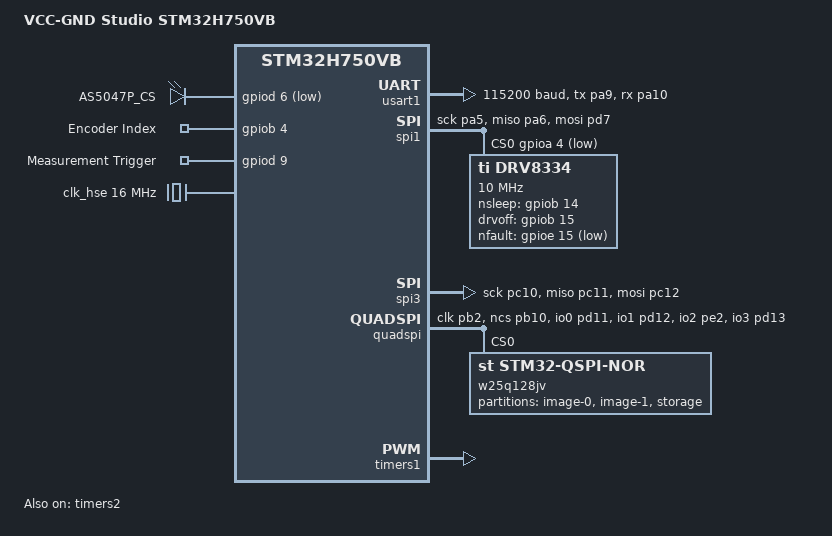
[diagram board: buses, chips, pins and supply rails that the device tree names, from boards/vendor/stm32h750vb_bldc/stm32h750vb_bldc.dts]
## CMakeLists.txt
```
#-------------------------------------------------------------------------------
# Zephyr Example Application
#
# Copyright (c) 2021 Nordic Semiconductor ASA
# SPDX-License-Identifier: Apache-2.0
list(APPEND BOARD_ROOT ${CMAKE_CURRENT_SOURCE_DIR})
set(BOARD stm32h750vb_bldc)

cmake_minimum_required(VERSION 3.13.1)
find_package(Zephyr REQUIRED HINTS $ENV{ZEPHYR_BASE})

project(app LANGUAGES C)

target_sources(app PRIVATE 
    src/main.c
    src/as5047p.c
    src/drv8334.c
    src/storage_manager.c
    src/adc_manager.c
    src/pwm_timer.c
    src/foc_controller.c
)
```

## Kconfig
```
# Copyright (c) 2021 Nordic Semiconductor ASA
# SPDX-License-Identifier: Apache-2.0
#
# This file is the application Kconfig entry point. All application Kconfig
# options can be defined here or included via other application Kconfig files.
# You can browse these options using the west targets menuconfig (terminal) or
# guiconfig (GUI).

menu "Zephyr"
source "Kconfig.zephyr"
endmenu

module = APP
module-str = APP
source "subsys/logging/Kconfig.template.log_config"
rsource "../Kconfig"

# Force compilation of STM32 HAL drivers
config APP_ENABLE_STM32_HAL
    bool "Enable Direct STM32 HAL Calls"
    default y
    select USE_STM32_HAL_ADC
    select USE_STM32_HAL_ADC_EX
    select USE_STM32_HAL_TIM
    select USE_STM32_HAL_TIM_EX
    select USE_STM32_HAL_DMA
```

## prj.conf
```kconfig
# Copyright (c) 2021 Nordic Semiconductor ASA
# SPDX-License-Identifier: Apache-2.0
#
# This file contains selected Kconfig options for the application.


# Enable Logging
CONFIG_LOG=y
CONFIG_SERIAL=y
CONFIG_CONSOLE=y
CONFIG_UART_CONSOLE=y
CONFIG_SHELL=y
# Use the console as the backend for logs
CONFIG_LOG_BACKEND_UART=y

# Optional: Ensure logs are processed immediately (useful for debugging crashes)
CONFIG_LOG_MODE_IMMEDIATE=y

CONFIG_GPIO=y

# SPI
CONFIG_SPI=y
#CONFIG_SHELL=y
#CONFIG_SPI_SHELL=y
#CONFIG_GPIO_SHELL=y
# SPI configuration for AS5047P

#CONFIG_SPI_ASYNC=n

# Enable AS5047P driver - not needed at the moment
CONFIG_SENSOR=y
# CONFIG_AS5047P=y

# Enable PWM for LED control
CONFIG_PWM=y
CONFIG_PWM_STM32=y

# enable floating point logging
CONFIG_CBPRINTF_FP_SUPPORT=y


CONFIG_QDEC_STM32=y

# Flash, MCUboot, and XIP Configuration
CONFIG_FLASH=y
CONFIG_FLASH_PAGE_LAYOUT=y
CONFIG_FLASH_MAP=y
CONFIG_NVS=y

# MCUboot Integration
CONFIG_BOOTLOADER_MCUBOOT=y
CONFIG_MCUBOOT_SIGNATURE_KEY_FILE="/home/paul/zephyrproject/STM32H750VB_DRV8334/app/keys/mcuboot_dev_key.pem"

# Enable Execute In Place (XIP) from QSPI
CONFIG_XIP=y

# Tell the linker to place .text and .rodata in QSPI XIP flash
CONFIG_USE_DT_CODE_PARTITION=y


# STM32 QSPI Driver and Memory Controller
CONFIG_MEMC=y
CONFIG_FLASH_STM32_QSPI=y

# Configure MPU to allow instruction fetching from external QSPI memory region (0x90000000)
CONFIG_ARM_MPU=y
CONFIG_CUSTOM_SECTION_ALIGN=y
# Enable early console logs to catch startup faults
CONFIG_EARLY_CONSOLE=y


# Enable USB CDC ACM for console output
CONFIG_USB_DEVICE_STACK=n
CONFIG_UHC_DRIVER=y
CONFIG_USB_DEVICE_STACK_NEXT=y
CONFIG_SERIAL=y 
CONFIG_UART_INTERRUPT_DRIVEN=y 
CONFIG_USB_DEVICE_PID=0x0001 
CONFIG_USB_DEVICE_VID=0xFEED

# Enable ADC support
CONFIG_ADC=y
CONFIG_ADC_STM32=y

CONFIG_DMA=y
CONFIG_DMA_STM32=y

CONFIG_FPU=y
CONFIG_CMSIS_DSP=y
CONFIG_CMSIS_DSP_FASTMATH=y
CONFIG_CMSIS_DSP_INTERPOLATION=y
```

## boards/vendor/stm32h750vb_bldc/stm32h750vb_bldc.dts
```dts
/*
 * Copyright (c) 2026 Paul Reisch
 *
 * SPDX-License-Identifier: Apache-2.0
 */

/dts-v1/;
#include <st/h7/stm32h750Xb.dtsi>
#include <st/h7/stm32h750vbtx-pinctrl.dtsi>
#include <zephyr/dt-bindings/input/input-event-codes.h>
#include "stm32h750vb_bldc.dtsi"
#include <zephyr/dt-bindings/timer/stm32-timer.h>
/ {
	model = "VCC-GND Studio STM32H750VB";
	compatible = "st,stm32h750vb";

	aliases {
		spi-flash0 = &w25q128jv;
		storage-flash = &storage_partition;
		meas-trigger = &meas_trigger;

	};

	chosen {
		zephyr,console = &usart1;
		zephyr,shell-uart = &usart1;
		zephyr,sram = &sram0;
		//zephyr,flash = &flash0;
		zephyr,flash = &w25q128jv;
		//zephyr,flash-controller = &w25q128jv; // test this as well
		zephyr,flash-controller = &quadspi;
		zephyr,code-partition = &slot0_partition; /* Primary application XIP target */
	};

	leds {
		compatible = "gpio-leds";
		as5047p_cs: as5047p_cs {
			gpios = <&gpiod 6 GPIO_ACTIVE_LOW>;
			label = "AS5047P_CS";
		};
	};
	/* Define the Index Pin as a GPIO for Interrupt use */
	encoder_index: encoder_index {
		compatible = "gpio-keys";
		index_pin: index_pin {
			gpios = <&gpiob 4 (GPIO_ACTIVE_HIGH | GPIO_PULL_DOWN)>;
			label = "Encoder Index";
		};
	};

	trigger_signal {
		compatible = "gpio-keys";
		meas_trigger: meas_trigger {
			gpios = <&gpiod 9 (GPIO_PULL_DOWN | GPIO_ACTIVE_HIGH)>;
			label = "Measurement Trigger";
		};
	};


};

&clk_lse {
	status = "okay";
};

&clk_hse {
	clock-frequency = <DT_FREQ_M(16)>;
	status = "okay";
};

&pll {
	div-m = <1>;
	mul-n = <60>;
	div-p = <2>;
	div-q = <15>;
	div-r = <6>;
	clocks = <&clk_hse>;
	status = "okay";
};

&pll2 {
    div-m = <2>;
    mul-n = <25>;
    div-p = <1>;   /* (16 MHz / 2) * 25 / 1 = 100 MHz */
    clocks = <&clk_hse>;
    status = "okay";
};


&rcc {
	clocks = <&pll>;
	clock-frequency = <DT_FREQ_M(480)>;
	d1cpre = <1>;   /* SYSCLK / 1 = 480MHz */
	hpre = <2>;    /* 480MHz / 2 = 240MHz (Max AHB speed) */
	d1ppre = <2>;  /* 240MHz / 2 = 120MHz (APB3) */
	d2ppre1 = <2>; /* 240MHz / 2 = 120MHz (APB1) */
	d2ppre2 = <2>; /* 240MHz / 2 = 120MHz (APB2) */
	d3ppre = <2>;  /* 240MHz / 2 = 120MHz (APB4) */
};

&pwr {
	power-supply = "ldo";
};

&usart1 {
	pinctrl-names = "default";
	pinctrl-0 = <&usart1_tx_pa9 &usart1_rx_pa10>;
	current-speed = <115200>;
	status = "okay";
};

&pinctrl {
	spi3_sck_pc10: spi3_sck_pc10 {
		pinmux = <STM32_PINMUX('C', 10, AF6)>;
		bias-pull-down;
	};
	spi3_miso_pc11: spi3_miso_pc11 {
		pinmux = <STM32_PINMUX('C', 11, AF6)>;
		bias-pull-up;
	};
	spi3_mosi_pc12: spi3_mosi_pc12 {
		pinmux = <STM32_PINMUX('C', 12, AF6)>;
		bias-pull-down;
	};
};

&spi1 {
    pinctrl-0 = <&spi1_sck_pa5 &spi1_miso_pa6 &spi1_mosi_pd7>;
    pinctrl-names = "default";
    status = "okay";
    cs-gpios = <&gpioa 4 GPIO_ACTIVE_LOW>;

    drv8334: drv8334@0 {
        compatible = "ti,drv8334";
        reg = <0>;
        spi-max-frequency = <10000000>;

        /* Control GPIOs */
        nsleep-gpios = <&gpiob 14 GPIO_ACTIVE_HIGH>;
        drvoff-gpios = <&gpiob 15 GPIO_ACTIVE_HIGH>;
        nfault-gpios = <&gpioe 15 GPIO_ACTIVE_LOW>;
    };
};

/* Note: ADC configuration for PC3_C, PB1, PB0 (SOA, SOB, SOC)
   would typically be handled via the ADC peripheral nodes. */

&spi3 {
	status = "okay";
	pinctrl-0 = <&spi3_sck_pc10 &spi3_miso_pc11 &spi3_mosi_pc12>;
	pinctrl-names = "default";
	// cs-gpios = <&gpioa 4 GPIO_ACTIVE_LOW>; CS was not toggled
	// keep this for later testing if i want to make a driver package for the this sensor else delete it at the end.
	// as5047p@0 {
		//     status = "okay";
		//     compatible = "ams,as5047p";
		//     reg = <0>;
		//     spi-max-frequency = <10000000>;
	// };
};

&flash0 {
        partitions {
                compatible = "fixed-partitions";
                #address-cells = <1>;
                #size-cells = <1>;

                /* MCUboot primary bootloader runs directly from 128KB internal flash */
                boot_partition: partition@0 {
                        label = "mcuboot";
                        reg = <0x00000000 DT_SIZE_K(128)>;
                };
        };
};


&quadspi {
	pinctrl-names = "default";
	pinctrl-0 = <&quadspi_clk_pb2 &quadspi_bk1_ncs_pb10
	&quadspi_bk1_io0_pd11 &quadspi_bk1_io1_pd12
	&quadspi_bk1_io2_pe2 &quadspi_bk1_io3_pd13>;
	status = "okay";

	w25q128jv: qspi-nor-flash@0 {
		compatible = "st,stm32-qspi-nor";
		reg = <0>;
		size = <DT_SIZE_M(128)>; /* 128 Mbits */
		qspi-max-frequency = <80000000>;
		cs-high-time = <4>; /* >= 50 ns */
		spi-bus-width = <4>;
		jedec-id = [ ef 40 18  ];
		status = "okay";
		/* Tell Zephyr to program the QE bit in Status Register 2 -> enables QSPI else only Singe Wire works*/
		quad-enable-requirements = "S2B1v1";
		partitions {
			compatible = "fixed-partitions";
			#address-cells = <1>;
			#size-cells = <1>;

			/* Slot 0: Primary application XIP target (2 MB) */
                        slot0_partition: partition@0 {
                                label = "image-0";
                                reg = <0x00000000 DT_SIZE_M(2)>;
                        };

                        /* Slot 1: Secondary application OTA staging slot (2 MB) */
                        slot1_partition: partition@200000 {
                                label = "image-1";
                                reg = <0x00200000 DT_SIZE_M(2)>;
                        };

                        /* Storage partition for calibration data, parameters (2 MB) */
                        storage_partition: partition@e00000 {
                                label = "storage";
                                reg = <0x00e00000 DT_SIZE_M(2)>;
                        };
		};
	};
};



/* Define Analog Pin Control Configurations */
&pinctrl {
    adc1_inp9_pb0: adc1_inp9_pb0 {
        pinmux = <STM32_PINMUX('B', 0, ANALOG)>;
	bias-disable;
    };
    adc2_inp5_pb1: adc2_inp5_pb1 {
        pinmux = <STM32_PINMUX('B', 1, ANALOG)>;
	bias-disable;
    };
    adc3_inp1_pc3_c: adc3_inp1_pc3_c {
        pinmux = <STM32_PINMUX('C', 3, ANALOG)>;
	bias-disable;
    };
};

&adc1 {
    status = "disabled";
    pinctrl-0 = <&adc1_inp9_pb0>;
    pinctrl-names = "default";
};
&adc2 {
    status = "disabled";
    pinctrl-0 = <&adc2_inp5_pb1>;
    pinctrl-names = "default";
};
&adc3 {
    status = "disabled";
    pinctrl-0 = <&adc3_inp1_pc3_c>;
    pinctrl-names = "default";

};

/* Pin Control Definition */
&pinctrl {
    tim1_ch1n_pe8: tim1_ch1n_pe8 {
        pinmux = <STM32_PINMUX('E', 8, AF1)>;
        drive-push-pull;
    };
    tim1_ch1_pe9: tim1_ch1_pe9 {
        pinmux = <STM32_PINMUX('E', 9, AF1)>;
        drive-push-pull;
    };
    tim1_ch2n_pe10: tim1_ch2n_pe10 {
        pinmux = <STM32_PINMUX('E', 10, AF1)>;
        drive-push-pull;
    };
    tim1_ch2_pe11: tim1_ch2_pe11 {
        pinmux = <STM32_PINMUX('E', 11, AF1)>;
        drive-push-pull;
    };
    tim1_ch3n_pe12: tim1_ch3n_pe12 {
        pinmux = <STM32_PINMUX('E', 12, AF1)>;
        drive-push-pull;
    };
    tim1_ch3_pe13: tim1_ch3_pe13 {
        pinmux = <STM32_PINMUX('E', 13, AF1)>;
        drive-push-pull;
    };
};

/* Timer Base Configuration */
&timers1 {
    status = "okay";
    st,prescaler = <0>;

    pwm1: pwm {
        status = "okay";
        compatible = "st,stm32-pwm";
        pinctrl-0 = <&tim1_ch1n_pe8 &tim1_ch1_pe9
                     &tim1_ch2n_pe10 &tim1_ch2_pe11
                     &tim1_ch3n_pe12 &tim1_ch3_pe13>;
        pinctrl-names = "default";
    };
};

&timers2 {
	status = "okay";
	qdec: qdec {
		status = "okay";
		pinctrl-0 = <&tim2_ch1_pa15 &tim2_ch2_pb3>;
		pinctrl-names = "default";
		st,counts-per-revolution = <2048>;
		st,input-filter-level = <1>; // default is 0
	};
};
```

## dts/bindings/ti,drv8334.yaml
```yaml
description: TI DRV8334 Motor Driver

compatible: "ti,drv8334"

include: [spi-device.yaml]

properties:
  nsleep-gpios:
    type: phandle-array
    required: true
  drvoff-gpios:
    type: phandle-array
    required: true
  nfault-gpios:
    type: phandle-array
    required: true
```

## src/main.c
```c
/*
 * Copyright (c) 2025
 *
 * SPDX-License-Identifier: Apache-2.0
 */

/**
 * @file Sample app to demonstrate AS5047P magnetic encoder driver.
 */

#include <zephyr/kernel.h>
#include <zephyr/sys/printk.h>
#include <zephyr/device.h>
#include <zephyr/drivers/pwm.h>
#include <zephyr/dt-bindings/pwm/pwm.h>
#include <zephyr/logging/log.h>

#include <zephyr/drivers/spi.h>

#include <zephyr/drivers/sensor.h>

#include "as5047p.h"
#include "storage_manager.h"
#include "adc_manager.h"
#include "drv8334.h"
#include "pwm_timer.h"
#include "foc_controller.h"

LOG_MODULE_REGISTER(app, LOG_LEVEL_INF);

#define SPI3_NODE DT_NODELABEL(spi3)
static const struct device *dev_mag_as5047p = DEVICE_DT_GET(SPI3_NODE);

static const struct gpio_dt_spec cs_gpio = GPIO_DT_SPEC_GET(DT_NODELABEL(as5047p_cs), gpios);

static struct spi_config spi_cfg = {
    .frequency = 5000000, // 500 KHz
    .operation = SPI_OP_MODE_MASTER |
                 SPI_WORD_SET(8) |
                 SPI_TRANSFER_MSB |
                 SPI_MODE_CPHA,
    .slave = 0,
    .cs = {NULL}, // <--- If this is set, CS is handled by the hardware of the MCU, NULL not connected manual mode
};

// ABI Interface
/* Get the devices from Devicetree */
const struct device *qdec_dev = DEVICE_DT_GET(DT_NODELABEL(qdec));
static const struct gpio_dt_spec index_gpio = GPIO_DT_SPEC_GET(DT_NODELABEL(index_pin), gpios);
static struct gpio_callback index_cb_data;

/* Callback function for Index pulse */
void index_handler(const struct device *port, struct gpio_callback *cb, uint32_t pins)
{
    /* Reset the timer counter when index pulse is detected */
    /* Note: Direct register access is often fastest for this */
    TIM2->CNT = 0;
}

void setup_encoder(void)
{
    if (!device_is_ready(qdec_dev))
    {
        return;
    }

    /* Setup Index Interrupt */
    gpio_pin_configure_dt(&index_gpio, GPIO_INPUT);
    gpio_init_callback(&index_cb_data, index_handler, BIT(index_gpio.pin));
    gpio_add_callback(index_gpio.port, &index_cb_data);
    gpio_pin_interrupt_configure_dt(&index_gpio, GPIO_INT_EDGE_TO_ACTIVE);
}

double read_encoder(void)
{
    struct sensor_value qdec_value = {0};
    double precise_degrees = 0.0;
    if (sensor_sample_fetch(qdec_dev) == 0)
    {
        sensor_channel_get(qdec_dev, SENSOR_CHAN_ROTATION, &qdec_value);

        // Convert to double to see the 0.08789 degree increments
        precise_degrees = sensor_value_to_double(&qdec_value);
    }
    return precise_degrees;
}

// Measurement

#include <zephyr/kernel.h>
#include <zephyr/drivers/sensor.h>
#include <zephyr/drivers/spi.h>

// Trigger pin for starting the measurement
static const struct gpio_dt_spec trigger_gpio =
    GPIO_DT_SPEC_GET(DT_NODELABEL(meas_trigger), gpios);

static struct gpio_callback trigger_cb_data;
static K_SEM_DEFINE(meas_sem, 0, 1);

static uint32_t last_trigger_time = 0;
#define DEBOUNCE_TIMEOUT_MS 100
void trigger_handler(const struct device *port, struct gpio_callback *cb, uint32_t pins)
{
    uint32_t now = k_uptime_get_32();

    // Only process the interrupt if enough time has passed
    if ((now - last_trigger_time) > DEBOUNCE_TIMEOUT_MS)
    {
        last_trigger_time = now;
        k_sem_give(&meas_sem);
    }
}

/* Data Structure for high-speed capture */
struct sensor_test_sample
{
    uint32_t timestamp;
    float abi_ticks;
    uint16_t spi_raw;
};

/* Buffer configuration */
// #define MAX_SAMPLES 4096 // max ist around 8000
// static struct sensor_test_sample sample_buffer[MAX_SAMPLES];

// void dump_characterization_data(void)
// {
//     // Wait for the measurement thread to be 100% idle
//     k_msleep(50);

//     // Get the hardware clock frequency
//     uint32_t hw_freq = sys_clock_hw_cycles_per_sec();

//     // Capture the first timestamp as the zero reference
//     uint32_t start_cycles = sample_buffer[0].timestamp;

//     // Use a simpler header
//     printk("idx,ts [ms],Angle from ABI [°],Angle from SPI [°],Angle Linearization [°]\n");

//     for (uint32_t i = 0; i < MAX_SAMPLES; i++)
//     {
//         // 1. Calculate relative cycles from the start
//         uint32_t rel_cycles = sample_buffer[i].timestamp - start_cycles;

//         /* Calculate ms as float then round to nearest integer */
//         float rel_ms_float = (float)rel_cycles / (hw_freq / 1000.0f);
//         uint32_t rel_ms_int = (uint32_t)(rel_ms_float + 0.5f);

//         float linear_corrected = apply_linear_correction(sample_buffer[i].abi_ticks);

//         // Print and then wait for the UART to clear
//         printk("%u,%u,%.4f,%.4f,%.4f\n",
//                i,
//                rel_ms_int,
//                (double)sample_buffer[i].abi_ticks,
//                (double)sample_buffer[i].spi_raw * (360.0 / 16384.0),
//                (double)linear_corrected);

//         // Slow down the dump significantly to ensure no data loss
//         // 3ms delay per line is safe for 115200 baud
//         k_msleep(3);
//     }
// }

/* Thread function */
// void measurement_thread_entry(void *p1, void *p2, void *p3)
// {
//     struct k_timer timer;
//     k_timer_init(&timer, NULL, NULL);

//     while (1)
//     {
//         /* Wait for PB3 trigger */
//         k_sem_take(&meas_sem, K_FOREVER);

//         /* Optional 100ms startup delay */
//         // k_msleep(100);
//         printk("Measurement triggered! Starting data capture...\n");
//         uint32_t start_time = k_uptime_get_32();

//         /* Start the interval timer for 50ms */
//         k_timer_start(&timer, K_NO_WAIT, K_MSEC(2.5)); // 2.5ms interval for 400Hz sampling

//         /* Collect exactly MAX_SAMPLES */
//         for (int i = 0; i < MAX_SAMPLES; i++)
//         {
//             k_timer_status_sync(&timer);
//             /* 1. Fetch ABI Ticks */
//             struct sensor_value qdec_value = {0};
//             double precise_degrees = 0.0;
//             if (sensor_sample_fetch(qdec_dev) == 0)
//             {
//                 sensor_channel_get(qdec_dev, SENSOR_CHAN_ROTATION, &qdec_value);

//                 // Convert to double to see the 0.08789 degree increments
//                 precise_degrees = sensor_value_to_double(&qdec_value);
//             }

//             /* 2. Fetch SPI Raw Angle */
//             uint16_t raw_reg = as5047p_read_reg(dev_mag_as5047p, &spi_cfg, &cs_gpio, AS5047P_REG_ANGLECOM);
//             /* 3. Store to RAM using the loop index 'i' */
//             sample_buffer[i].timestamp = k_cycle_get_32();
//             sample_buffer[i].abi_ticks = precise_degrees;
//             sample_buffer[i].spi_raw = raw_reg & 0x3FFF;
//             /* Wait for the remainder of the 10ms interval */
//         }
//         k_timer_stop(&timer);

//         uint32_t end_time = k_uptime_get_32();
//         printk("Capture End. Duration: %u ms\n", (end_time - start_time));
//         printk("Data capture complete! Dumping data...\n");
//         dump_characterization_data();
//         k_sem_reset(&meas_sem);
//         /* Thread automatically loops back to k_sem_take and sleeps */
//     }
// }
// K_THREAD_DEFINE(meas_thread_id, 2048, measurement_thread_entry, NULL, NULL, NULL, 2, 0, 0);

// Thread for open-loop FOC control
void open_loop_thread_entry(void *p1, void *p2, void *p3)
{
    while (1)
    {
        const struct open_loop_config *cfg = foc_get_open_loop_config();
        if (cfg != NULL && cfg->enabled)
        {
            foc_open_loop_update(0.001f);
        }
        k_msleep(1);
    }
}

K_THREAD_DEFINE(open_loop_tid, 2048, open_loop_thread_entry, NULL, NULL, NULL, 5, 0, 0);

// flash
#include <zephyr/drivers/flash.h>
#include <zephyr/fs/nvs.h>
#define STORAGE_NODE DT_ALIAS(storage_flash)

int main(void)
{
    printk("Tick frequency: %d Hz\n", CONFIG_SYS_CLOCK_TICKS_PER_SEC);
    if (!gpio_is_ready_dt(&cs_gpio))
    {
        LOG_ERR("CS GPIO device not ready");
        return -ENODEV;
    }
    /* Configure as output and set to High (Inactive) */
    gpio_pin_configure_dt(&cs_gpio, GPIO_OUTPUT_INACTIVE);

    if (!device_is_ready(dev_mag_as5047p))
    {
        return -ENODEV;
    }

    // Setup the encoder pins for the ABI Interface
    setup_encoder();

    // Check register settings
    as5047p_dump_registers(dev_mag_as5047p, &spi_cfg, &cs_gpio);
    as5047p_set_abi_4096(dev_mag_as5047p, &spi_cfg, &cs_gpio);
    uint16_t spi_raw = as5047p_read_reg(dev_mag_as5047p, &spi_cfg, &cs_gpio, AS5047P_REG_ANGLECOM);
    spi_raw &= 0x3FFF; // Mask to 14 bits

    // 2. Scale 14-bit (16384) to 12-bit (4096)
    // Using 4096.0 for float precision or simple shift for speed
    uint32_t initial_counts = spi_raw / 8;

    // 3. Directly set the STM32 Timer Counter register
    // TIM2 is used for ABI
    TIM2->CNT = initial_counts;
    as5047p_dump_registers(dev_mag_as5047p, &spi_cfg, &cs_gpio);
    k_msleep(100);

    // Interrupt setup for measurement trigger
    gpio_pin_configure_dt(&trigger_gpio, GPIO_INPUT);

    /* Configure interrupt for Rising Edge (Low to High) */
    gpio_pin_interrupt_configure_dt(&trigger_gpio, GPIO_INT_EDGE_TO_ACTIVE);

    /* Attach the callback */
    gpio_init_callback(&trigger_cb_data, trigger_handler, BIT(trigger_gpio.pin));
    gpio_add_callback(trigger_gpio.port, &trigger_cb_data);

    printk("INFO: System Ready. Trigger enabled.\n");

    storage_run_test();

    pwm_timer_start_3phase_center_aligned();
    printk("INFO: Timer 1 center aligned 3 phase pwm started.\n");

    printk("INFO: Starting ADC DMA triggered by TIM1 TRGO.\n");
    start_timer_triggered_adc_dma();
    printk("INFO: ADC DMA started. Awaiting TIM1 TRGO events...\n");
    calibrate_current_offsets();

    printk("INFO: DRV8334 Initialization Starting...\n");
    int ret = drv8334_init(&drv_cfg);
    if (ret < 0)
    {
        printk("INFO: DRV8334 Initialization Failed: %d\n", ret);
    }
    else
    {
        printk("INFO: DRV8334 Initialized successfully\n");
    }

    printk("INFO: System Testing Active. Ready to sample signals.\n");

    while (1)
    {
        k_sleep(K_FOREVER);
    }

    return 0;
}
```

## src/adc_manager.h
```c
/*
 * Copyright (c) 2026
 * SPDX-License-Identifier: Apache-2.0
 */

#ifndef ADC_MANAGER_H_
#define ADC_MANAGER_H_

#include <stdlib.h>

#include <zephyr/types.h>
#include <zephyr/kernel.h>
#include <zephyr/shell/shell.h>
#include <stm32h7xx_hal.h>
#include <zephyr/arch/cpu.h>
#include <stm32h7xx_ll_bus.h>
#include <stm32h7xx_ll_system.h>
#include <zephyr/drivers/clock_control.h>
#include <zephyr/drivers/clock_control/stm32_clock_control.h>

#include <zephyr/drivers/pinctrl.h>
#include <stm32h7xx_hal.h>
#include <stm32h7xx_hal_adc_ex.h>

#include <stm32h7xx_hal_dma.h>

#include <zephyr/irq.h>
#include <stm32_ll_adc.h>

#ifdef __cplusplus
extern "C" {
#endif


extern volatile struct motor_currents_sample g_latest_currents;


/**
 * @brief Structure holding the latest raw and converted millivolt data.
 * Ready for extraction by control feedback or background loops.
 */
struct motor_currents_sample {
    uint16_t raw_a;
    uint16_t raw_b;
    uint16_t raw_c;
    uint16_t raw_offset_a;
    uint16_t raw_offset_b;
    uint16_t raw_offset_c;
    float i_a;
    float i_b;
    float i_c;
};


int start_timer_triggered_adc_dma(void);
int calibrate_current_offsets(void);

/**
 * @brief Initializes ADC1, ADC2, and ADC3 for simultaneous triple injected
 * sampling triggered by TIM1.
 */
void init_adcs_simultaneous_foc(void);

/**
 * @brief Returns the initialization status of the ADC subsystem.
 * @return true if initialized, false otherwise.
 */
bool is_adc_ready(void);

/**
 * @brief Thread-safe retrieval of the latest phase current measurements.
 * @param samples Pointer to output structure to receive current data.
 */
void get_latest_currents(struct motor_current_sample *samples);

/**
 * @brief Performs a synchronized read of Phase A, B, and C currents.
 * @param out_samples Pointer to output structure to copy the latest readings.
 * @return 0 on success, negative error code on failure.
 */
int adc_manager_read_currents(struct motor_current_sample *out_samples);

/**
 * @brief Performs a low-priority synchronous sample of the NTC channel.
 * @param out_mv Pointer to store the raw voltage in millivolts.
 * @return 0 on success, negative error code on failure.
 */
int adc_manager_read_temp(int32_t *out_mv);

/**
 * @brief Prints hardware register diagnostics for a designated ADC instance and channel.
 * @param adc_num ADC peripheral instance (1, 2, or 3).
 * @param channel Channel number (0 to 19).
 */
void print_adc_channel_debug(uint8_t adc_num, uint32_t channel);

#ifdef __cplusplus
}
#endif

#endif /* ADC_MANAGER_H_ */
```

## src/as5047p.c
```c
#include "as5047p.h"
#include <zephyr/kernel.h>

struct as5047p_reg_map
{
    uint16_t addr;
    const char *name;
};

static const struct as5047p_reg_map reg_list[] = {
    {AS5047P_REG_ERRFL, "ERRFL"},
    {AS5047P_REG_SETTINGS1, "SETTINGS1"},
    {AS5047P_REG_SETTINGS2, "SETTINGS2"},
    {AS5047P_REG_ABIBIN, "ABIBIN"},
    {AS5047P_REG_ABIRES, "ABIRES"},
    {AS5047P_REG_ZPOSM, "ZPOSM"},
    {AS5047P_REG_ZPOSL, "ZPOSL"},
    {AS5047P_REG_SETTINGS3, "SETTINGS3"},
    {AS5047P_REG_PROGOPT, "PROGOPT"},
    {AS5047P_REG_DIAAGC, "DIAAGC"},
    {AS5047P_REG_MAG, "MAG"},
    {AS5047P_REG_ANGLEUNC, "ANGLEUNC"},
    {AS5047P_REG_ANGLECOM, "ANGLECOM"}};

static uint16_t add_parity(uint16_t command)
{
    uint16_t count = 0;
    uint16_t temp = command;
    for (int i = 0; i < 16; i++)
    {
        if (temp & 0x1)
            count++;
        temp >>= 1;
    }
    return (count % 2 != 0) ? (command | 0x8000) : command;
}

uint16_t as5047p_read_reg(const struct device *spi_dev,
                          const struct spi_config *cfg,
                          const struct gpio_dt_spec *cs,
                          uint16_t reg)
{
    uint16_t command = add_parity(AS5047P_CMD_READ | (reg & 0x3FFF));
    uint8_t tx_data[2] = {(uint8_t)(command >> 8), (uint8_t)(command & 0xFF)};
    uint8_t tx_nop[2] = {0xC0, 0x00};
    uint8_t rx_buf[2];

    struct spi_buf tx = {.buf = tx_data, .len = 2};
    struct spi_buf_set tx_s = {.buffers = &tx, .count = 1};
    struct spi_buf rx = {.buf = rx_buf, .len = 2};
    struct spi_buf_set rx_s = {.buffers = &rx, .count = 1};

    /* Frame 1: Send Command */
    gpio_pin_set_dt(cs, 1);
    k_busy_wait(1);
    spi_transceive(spi_dev, cfg, &tx_s, &rx_s);
    gpio_pin_set_dt(cs, 0);

    k_busy_wait(1);

    /* Frame 2: Get Data */
    tx.buf = tx_nop;
    gpio_pin_set_dt(cs, 1);
    k_busy_wait(1);
    spi_transceive(spi_dev, cfg, &tx_s, &rx_s);
    gpio_pin_set_dt(cs, 0);

    return ((uint16_t)rx_buf[0] << 8) | rx_buf[1];
}

float as5047p_get_angle_degrees(const struct device *spi_dev,
                                const struct spi_config *cfg,
                                const struct gpio_dt_spec *cs)
{
    /* Read the ANGLECOM register (0x3FFE) */
    uint16_t raw_val = as5047p_read_reg(spi_dev, cfg, cs, AS5047P_REG_ANGLECOM);

    /* * Mask out bits 14 (Error Flag) and 15 (Parity)
     * 0x3FFF = 0011 1111 1111 1111
     */
    uint16_t angle_data = raw_val & 0x3FFF;

    /* * Convert 14-bit value to degrees:
     * Resolution = 360.0 / 2^14 = 360.0 / 16384
     */
    float degrees = (float)angle_data * (360.0f / 16384.0f);

    return degrees;
}

int as5047p_write_reg(const struct device *spi_dev,
                      const struct spi_config *cfg,
                      const struct gpio_dt_spec *cs,
                      uint16_t reg,
                      uint16_t data)
{
    /* 1. Prepare Command Frame (Write bit is 0 at bit 14) */
    uint16_t command = add_parity(reg & 0x3FFF);
    uint8_t cmd_buf[2] = {(uint8_t)(command >> 8), (uint8_t)(command & 0xFF)};

    /* 2. Prepare Data Frame (Data bits 0:13) */
    uint16_t data_frame = add_parity(data & 0x3FFF);
    uint8_t data_buf[2] = {(uint8_t)(data_frame >> 8), (uint8_t)(data_frame & 0xFF)};

    struct spi_buf tx_cmd = {.buf = cmd_buf, .len = 2};
    struct spi_buf tx_data = {.buf = data_buf, .len = 2};

    struct spi_buf_set tx_cmd_s = {.buffers = &tx_cmd, .count = 1};
    struct spi_buf_set tx_data_s = {.buffers = &tx_data, .count = 1};

    /* Frame 1: Send Address/Write Command */
    gpio_pin_set_dt(cs, 1);
    k_busy_wait(1);
    int ret = spi_write(spi_dev, cfg, &tx_cmd_s);
    gpio_pin_set_dt(cs, 0);

    if (ret)
        return ret;

    /* Mandatory tCSn delay */
    k_busy_wait(1);

    /* Frame 2: Send Data */
    gpio_pin_set_dt(cs, 1);
    k_busy_wait(1);
    ret = spi_write(spi_dev, cfg, &tx_data_s);
    gpio_pin_set_dt(cs, 0);

    return ret;
}

void as5047p_dump_registers(const struct device *spi_dev,
                            const struct spi_config *cfg,
                            const struct gpio_dt_spec *cs)
{
    printk("\n--- AS5047P Register Dump ---\n");
    printk("%-12s | %-6s | %-6s\n", "Register", "Addr", "Value");
    printk("------------------------------\n");

    for (int i = 0; i < ARRAY_SIZE(reg_list); i++)
    {
        uint16_t value = as5047p_read_reg(spi_dev, cfg, cs, reg_list[i].addr);

        /* The data is in the lower 14 bits (0-13) */
        uint16_t data = value & 0x3FFF;
        uint8_t error = (value & 0x4000) >> 14;

        printk("%-12s | 0x%04X | 0x%04X %s\n",
               reg_list[i].name,
               reg_list[i].addr,
               data,
               error ? "(ERR)" : "");
    }
    printk("------------------------------\n\n");
}

int as5047p_set_abi_4096(const struct device *spi_dev,
                         const struct spi_config *cfg,
                         const struct gpio_dt_spec *cs)
{
    int ret;

    /* Set SETTINGS1 to 0x0021 (Factory bit = 1, ABIBIN = 1) */
    ret = as5047p_write_reg(spi_dev, cfg, cs, AS5047P_REG_SETTINGS1, 0x0021);
    if (ret)
    {
        return ret;
    }

    /* Set SETTINGS2 to 0x0000 (ABIRES = 000) */
    /* This selects 4096 Steps / 1024 Pulses when ABIBIN is 1 */
    ret = as5047p_write_reg(spi_dev, cfg, cs, AS5047P_REG_SETTINGS2, 0x0000);

    return ret;
}


// 32-segment lookup table values from your script (example data)
static const float32_t lut_corrections[32] = {
0.000404,
-2.431294,
-5.089021,
-8.636107,
-11.983723,
-15.152644,
-18.250239,
-20.732734,
-21.619773,
-20.150077,
-16.291087,
-10.822303,
-5.028875,
-0.220283,
2.687999,
3.375851,
2.072639,
-0.660724,
-4.194493,
-8.019444,
-11.800608,
-15.30694,
-18.288365,
-20.393309,
-21.194315,
-20.32789,
-17.686035,
-13.558797,
-8.648572,
-3.951602,
-0.551477,
0.803817
};


float32_t apply_linear_correction(float32_t raw_angle_deg) {
    // CMSIS-DSP linear interpolation uses an instance structure
    arm_linear_interp_instance_f32 S;
    S.nValues = 32;
    S.x1 = 0.0f;          // First point location
    S.xSpacing = 11.25f;  // 360 / 32 elements
    S.pYData = (float32_t *)lut_corrections;

    // Evaluate the correction factor at the current raw position
    float32_t correction = arm_linear_interp_f32(&S, raw_angle_deg);
    
    // Apply correction and wrap to 0-360
    float32_t corrected_angle = raw_angle_deg + correction;
    if (corrected_angle >= 360.0f) corrected_angle -= 360.0f;
    if (corrected_angle < 0.0f) corrected_angle += 360.0f;
    
    return corrected_angle;
}
```

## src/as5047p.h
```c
#ifndef AS5047P_H
#define AS5047P_H

#include <zephyr/types.h>
#include <zephyr/drivers/spi.h>
#include <zephyr/drivers/gpio.h>

#include <zephyr/drivers/sensor.h>


/* AS5047P Register Addresses */
#define AS5047P_REG_ERRFL 0x0001
#define AS5047P_REG_SETTINGS1 0x0018
#define AS5047P_REG_SETTINGS2 0x0019
#define AS5047P_REG_MAG 0x3FFD
#define AS5047P_REG_DIAAGC 0x3FFC
#define AS5047P_REG_ANGLEUNC 0x3FFE
#define AS5047P_REG_ANGLECOM 0x3FFF
#define AS5047P_REG_ABIBIN 0x001A
#define AS5047P_REG_ABIRES 0x001B
#define AS5047P_REG_ZPOSM 0x001C
#define AS5047P_REG_ZPOSL 0x001D
#define AS5047P_REG_SETTINGS3 0x001E
#define AS5047P_REG_PROGOPT 0x001F

/* Custom sensor channels */
#define AS5047P_CHAN_RAW SENSOR_CHAN_PRIV_START
#define AS5047P_CHAN_MAGNITUDE (SENSOR_CHAN_PRIV_START + 1)
#define AS5047P_CHAN_AMPLITUDE (SENSOR_CHAN_PRIV_START + 2)

/* SETTINGS1 Register Bit Fields */
#define AS5047P_SETTINGS1_UVW_POS 0xC000 /* UVW_AB selection */
#define AS5047P_SETTINGS1_PWM_ON 0x2000  /* PWM output enable */
#define AS5047P_SETTINGS1_DAECDIS 0x1000 /* Dynamic angle error compensation disable */
#define AS5047P_SETTINGS1_SPITH 0x0F00   /* SPI threshold */
#define AS5047P_SETTINGS1_DIR 0x0080     /* Direction */
#define AS5047P_SETTINGS1_HYST 0x0030    /* Hysteresis */
#define AS5047P_SETTINGS1_ABIRES 0x0003  /* ABI resolution */

/* SETTINGS2 Register Bit Fields */
#define AS5047P_SETTINGS2_UVW_ABI 0x2000 /* UVW_ABI selection */
#define AS5047P_SETTINGS2_DCT 0x1000     /* Fast mode */
#define AS5047P_SETTINGS2_SDA 0x0800     /* SDA enable */
#define AS5047P_SETTINGS2_PWMF 0x0400    /* PWM frequency */
#define AS5047P_SETTINGS2_DAE 0x0200     /* Dynamic angle error compensation */
#define AS5047P_SETTINGS2_WD 0x0100      /* Watchdog */
#define AS5047P_SETTINGS2_TPOLE 0x00C0   /* Turn-on programming */
#define AS5047P_SETTINGS2_PWMMOD 0x0038  /* PWM modulation */
#define AS5047P_SETTINGS2_OTP_EN 0x0007  /* OTP programming enable */

/* DIAAGC Register Bit Fields */
#define AS5047P_DIAAGC_OCF 0x8000       /* Offset compensation finished */
#define AS5047P_DIAAGC_COF 0x4000       /* Cordic overflow */
#define AS5047P_DIAAGC_COMP_LOW 0x2000  /* Compensation low */
#define AS5047P_DIAAGC_COMP_HIGH 0x1000 /* Compensation high */
#define AS5047P_DIAAGC_MAGL 0x0800      /* Magnetic field strength low */
#define AS5047P_DIAAGC_MAGH 0x0400      /* Magnetic field strength high */
#define AS5047P_DIAAGC_AGC 0x00FF       /* Automatic gain control */

/* Error flag definitions */
#define AS5047P_ERR_FIELD_TOO_LOW 0x08      /* Magnetic field too weak */
#define AS5047P_ERR_FIELD_TOO_HIGH 0x04     /* Magnetic field too strong */
#define AS5047P_ERR_CORDIC_OVERFLOW 0x10    /* Cordic overflow */
#define AS5047P_ERR_OFFSET_IN_PROGRESS 0x80 /* Offset compensation in progress */

/* SPI Command Bits */
#define AS5047P_CMD_READ 0x4000
#define AS5047P_CMD_WRITE 0x0000
#define AS5047P_CMD_PARITY_MASK 0x8000

#define AS5047P_MAX_SPI_FREQ 10000000 /* 10 MHz max */
#define AS5047P_POWER_UP_DELAY_MS 10  /* Power-up stabilization delay */

/* Function Prototypes */
uint16_t as5047p_read_reg(const struct device *spi_dev,
                        const struct spi_config *cfg,
                        const struct gpio_dt_spec *cs,  
                        uint16_t reg);

float as5047p_get_angle_degrees(const struct device *spi_dev,
                            const struct spi_config *cfg,
                            const struct gpio_dt_spec *cs);

int as5047p_write_reg(const struct device *spi_dev,
                      const struct spi_config *cfg,
                      const struct gpio_dt_spec *cs,
                      uint16_t reg,
                      uint16_t data);

int as5047p_set_abi_4096(const struct device *spi_dev, 
                         const struct spi_config *cfg,
                         const struct gpio_dt_spec *cs);

void as5047p_dump_registers(const struct device *spi_dev,
                            const struct spi_config *cfg,
                            const struct gpio_dt_spec *cs);


#include <zephyr/kernel.h>
#include <arm_math.h>

float32_t apply_linear_correction(float32_t raw_angle_deg);
float32_t apply_harmonic_correction(float32_t raw_angle_deg);

#endif /* AS5047P_H */
```

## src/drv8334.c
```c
#include "drv8334.h"
#include <zephyr/kernel.h>
#include <zephyr/sys/crc.h>
#include <zephyr/shell/shell.h>
#include <stdlib.h>
#include <string.h>

#define SPI1_NODE DT_NODELABEL(drv8334)

#define DRV8334_CRC_POLY 0x2F
#define DRV8334_CRC_INIT 0xFF

LOG_MODULE_REGISTER(drv8334, CONFIG_LOG_DEFAULT_LEVEL);

const struct drv8334_config drv_cfg = {
    .spi = SPI_DT_SPEC_GET(SPI1_NODE, SPI_WORD_SET(8) | SPI_MODE_CPHA | SPI_TRANSFER_MSB, 0),
    .nsleep = GPIO_DT_SPEC_GET(SPI1_NODE, nsleep_gpios),
    .drvoff = GPIO_DT_SPEC_GET(SPI1_NODE, drvoff_gpios),
    .nfault = GPIO_DT_SPEC_GET(SPI1_NODE, nfault_gpios),
};

struct bit_desc {
    uint8_t bit;
    const char *name;
    const char *active_str;
};

static inline uint8_t drv8334_calc_crc8(const uint8_t *data, size_t len)
{
    return crc8(data, len, DRV8334_CRC_POLY, DRV8334_CRC_INIT, false);
}

int drv8334_reg_write(const struct drv8334_config *cfg, uint8_t addr, uint16_t data)
{
    uint8_t tx_buf[4] = {
        [0] = (addr << 1) & 0xFE,
        [1] = (uint8_t)(data >> 8),
        [2] = (uint8_t)(data & 0xFF),
    };
    uint8_t rx_buf[4];
    
    tx_buf[3] = drv8334_calc_crc8(tx_buf, 3);

    const struct spi_buf tx = {.buf = tx_buf, .len = sizeof(tx_buf)};
    const struct spi_buf_set tx_bufs = {.buffers = &tx, .count = 1};
    const struct spi_buf rx = {.buf = rx_buf, .len = sizeof(rx_buf)};
    const struct spi_buf_set rx_bufs = {.buffers = &rx, .count = 1};

    int ret = spi_transceive_dt(&cfg->spi, &tx_bufs, &rx_bufs);
    if (ret < 0) {
        LOG_ERR("SPI transceive failed for addr 0x%02X: %d", addr, ret);
        return ret;
    }

    if (rx_buf[3] != drv8334_calc_crc8(rx_buf, 3)) {
        LOG_ERR("CRC error for addr 0x%02X", addr);
        return -EBADMSG;
    }

    if (!(rx_buf[0] & 0x28)) {
        LOG_WRN("DRV8334 reported fault status: 0x%02X on addr 0x%02X", rx_buf[0], addr);
        return -EIO;
    }

    return 0;
}

int drv8334_reg_read(const struct drv8334_config *cfg, uint8_t addr, uint16_t *data)
{
    uint8_t tx_buf[4] = {
        [0] = ((addr << 1) & 0xFE) | 0x01,
        [1] = 0x00,
        [2] = 0x00,
    };
    uint8_t rx_buf[4];

    tx_buf[3] = drv8334_calc_crc8(tx_buf, 3);

    const struct spi_buf tx = {.buf = tx_buf, .len = sizeof(tx_buf)};
    const struct spi_buf_set tx_bufs = {.buffers = &tx, .count = 1};
    const struct spi_buf rx = {.buf = rx_buf, .len = sizeof(rx_buf)};
    const struct spi_buf_set rx_bufs = {.buffers = &rx, .count = 1};

    int ret = spi_transceive_dt(&cfg->spi, &tx_bufs, &rx_bufs);
    if (ret < 0) {
        return ret;
    }

    if (rx_buf[3] != drv8334_calc_crc8(rx_buf, 3)) {
        return -EBADMSG;
    }

    *data = ((uint16_t)rx_buf[1] << 8) | rx_buf[2];
    return 0;
}

int drv8334_init(const struct drv8334_config *cfg)
{
    uint16_t data;

    if (!spi_is_ready_dt(&cfg->spi)) {
        return -ENODEV;
    }

    gpio_pin_configure_dt(&cfg->nsleep, GPIO_OUTPUT_LOW);
    gpio_pin_configure_dt(&cfg->drvoff, GPIO_OUTPUT_HIGH);
    gpio_pin_configure_dt(&cfg->nfault, GPIO_INPUT);

    gpio_pin_set_dt(&cfg->nsleep, 1);
    k_msleep(2);

    drv8334_reg_read(cfg, DRV8334_REG_IC_CTRL2, &data);
    printk("INFO: DRV8334_REG_IC_CTRL2 is: 0x%04X\n", data);
    drv8334_reg_read(cfg, DRV8334_REG_IC_CTRL2, &data);
    printk("INFO: DRV8334_REG_IC_CTRL2 is: 0x%04X\n", data);

    drv8334_reg_write(cfg, DRV8334_REG_IC_CTRL3, 0xC009);
    drv8334_reg_write(cfg, DRV8334_REG_GD_CTRL1, 0x0328);
    drv8334_reg_write(cfg, DRV8334_REG_GD_CTRL2, 0x0717);
    drv8334_reg_write(cfg, DRV8334_REG_GD_CTRL3, 0x0717);
    drv8334_reg_write(cfg, DRV8334_REG_GD_CTRL3B, 0x2323);
    drv8334_reg_write(cfg, DRV8334_REG_GD_CTRL4, 0x0200);
    drv8334_reg_write(cfg, DRV8334_REG_GD_CTRL5, 0x0007);
    drv8334_reg_write(cfg, DRV8334_REG_GD_CTRL6, 0x2323);
    drv8334_reg_write(cfg, DRV8334_REG_GD_CTRL7, 0x2323);

    drv8334_reg_write(cfg, DRV8334_REG_CSA_CTRL, 0x0888);

    drv8334_reg_write(cfg, DRV8334_REG_MON_CTRL1, 0x0200);
    drv8334_reg_write(cfg, DRV8334_REG_MON_CTRL2, 0x1101);
    drv8334_reg_write(cfg, DRV8334_REG_MON_CTRL3, 0x0042);
    drv8334_reg_write(cfg, DRV8334_REG_MON_CTRL4, 0x0032);
    drv8334_reg_write(cfg, DRV8334_REG_MON_CTRL6, 0x0200);

    gpio_pin_set_dt(&cfg->drvoff, 0);
    k_usleep(10);

    drv8334_reg_write(cfg, DRV8334_REG_IC_CTRL2, 0x8807);
    drv8334_reg_read(cfg, DRV8334_REG_IC_CTRL2, &data);
    printk("INFO: DRV8334_REG_IC_CTRL2 is: 0x%04X\n", data);

    return 0;
}

static void print_bit_fields(const struct shell *sh, uint16_t val, const struct bit_desc *descs, size_t count)
{
    for (size_t i = 0; i < count; i++) {
        uint8_t bit_val = (val >> descs[i].bit) & 0x01;
        shell_print(sh, "    [%2u] %-12s : %u (%s)",
                    descs[i].bit,
                    descs[i].name,
                    bit_val,
                    bit_val ? descs[i].active_str : "OK/No Fault");
    }
}

static void drv8334_decode_status_reg(const struct shell *sh, uint8_t addr, uint16_t val)
{
    static const struct bit_desc stat1[] = {
        {15, "SPI_OK", "No SPI Fault"}, {14, "FAULT", "Fault Event Active"},
        {13, "WARN", "Warning Active"}, {12, "VDS", "VDS Overcurrent"},
        {11, "VGS", "VGS Event"}, {10, "SNS_OCP", "Sense Overcurrent"},
        {9, "OV", "Overvoltage"}, {8, "UV", "Undervoltage"},
        {1, "OTW", "Overtemp Warning"}, {0, "DRV_STAT", "Driver Enabled"}
    };
    static const struct bit_desc stat2[] = {
        {15, "CBC_ST", "CBC Counter > 0"}, {10, "SNS_OCP_A", "Phase A Sense OCP"},
        {9, "SNS_OCP_B", "Phase B Sense OCP"}, {8, "SNS_OCP_C", "Phase C Sense OCP"},
        {5, "VDS_HA", "Phase A HS VDS Fault"}, {4, "VDS_LA", "Phase A LS VDS Fault"},
        {3, "VDS_HB", "Phase B HS VDS Fault"}, {2, "VDS_LB", "Phase B LS VDS Fault"},
        {1, "VDS_HC", "Phase C HS VDS Fault"}, {0, "VDS_LC", "Phase C LS VDS Fault"}
    };
    static const struct bit_desc stat3[] = {
        {5, "VGS_HA", "Phase A HS VGS Fault"}, {4, "VGS_LA", "Phase A LS VGS Fault"},
        {3, "VGS_HB", "Phase B HS VGS Fault"}, {2, "VGS_LB", "Phase B LS VGS Fault"},
        {1, "VGS_HC", "Phase C HS VGS Fault"}, {0, "VGS_LC", "Phase C LS VGS Fault"}
    };
    static const struct bit_desc stat4[] = {
        {15, "PVDD_OV", "PVDD OV"}, {14, "PVDD_UV", "PVDD UV"},
        {13, "VDRAIN_OV", "VDRAIN OV"}, {12, "VDRAIN_UV", "VDRAIN UV"},
        {11, "VCP_OV", "VCP OV"}, {10, "VCP_UV", "VCP UV"},
        {9, "GVDD_OV", "GVDD OV"}, {8, "GVDD_UV", "GVDD UV"},
        {5, "BSTA_OV", "BST A OV"}, {4, "BSTA_UV", "BST A UV"},
        {3, "BSTB_OV", "BST B OV"}, {2, "BSTB_UV", "BST B UV"},
        {1, "BSTC_OV", "BST C OV"}, {0, "BSTC_UV", "BST C UV"}
    };
    static const struct bit_desc stat5[] = {
        {14, "PVDD_UVW", "PVDD UV Warning"}, {10, "GVDD_CP_LDO", "LDO Mode"},
        {9, "OTSD", "Overtemp Shutdown"}, {8, "WDT_FLT", "Watchdog Fault"},
        {7, "SPI_CRC_FLT", "SPI CRC Fault"}, {6, "SPI_ADDR_FLT", "SPI Addr Fault"},
        {5, "SPI_CLK_FLT", "SPI Clock Fault"}, {4, "OTP_CRC_FLT", "Factory OTP CRC"},
        {3, "OTP_USR_CRC", "User OTP CRC"}, {1, "STP_FLT", "Shoot Through"},
        {0, "DEADT_FLT", "Dead Time Fault"}
    };
    static const struct bit_desc stat6[] = {
        {15, "PHCA_FLT", "Phase A Comp Fault"}, {14, "PHCB_FLT", "Phase B Comp Fault"},
        {13, "PHCC_FLT", "Phase C Comp Fault"}, {11, "VREF_OV", "VREF OV"},
        {10, "VREF_UV", "VREF UV"}, {9, "VDDSDO_UV", "VDDSDO UV"},
        {7, "DVDD_OV", "DVDD OV"}, {4, "ABIST_FLT", "Analog BIST Fault"},
        {3, "DEV_MODE_FLT", "Device Mode Fault"}, {0, "CLK_MON_FLT", "Clock Mon Fault"}
    };

    switch (addr) {
    case DRV8334_REG_IC_STAT1: print_bit_fields(sh, val, stat1, ARRAY_SIZE(stat1)); break;
    case DRV8334_REG_IC_STAT2: print_bit_fields(sh, val, stat2, ARRAY_SIZE(stat2)); break;
    case DRV8334_REG_IC_STAT3: print_bit_fields(sh, val, stat3, ARRAY_SIZE(stat3)); break;
    case DRV8334_REG_IC_STAT4: print_bit_fields(sh, val, stat4, ARRAY_SIZE(stat4)); break;
    case DRV8334_REG_IC_STAT5: print_bit_fields(sh, val, stat5, ARRAY_SIZE(stat5)); break;
    case DRV8334_REG_IC_STAT6: print_bit_fields(sh, val, stat6, ARRAY_SIZE(stat6)); break;
    default: break;
    }
}

struct reg_entry {
    uint8_t addr;
    const char *acronym;
    const char *name;
};

static void dump_registers_internal(const struct drv8334_config *cfg, const struct shell *sh,
                                     const struct reg_entry *regs, size_t count, const char *title)
{
    shell_print(sh, "================ %s ================", title);
    for (size_t i = 0; i < count; i++) {
        uint16_t val = 0;
        int ret = drv8334_reg_read(cfg, regs[i].addr, &val);
        if (ret < 0) {
            shell_error(sh, "  [0x%02X] %-10s (%-22s): ERROR (%d)",
                        regs[i].addr, regs[i].acronym, regs[i].name, ret);
        } else {
            shell_print(sh, "  [0x%02X] %-10s (%-22s): 0x%04X",
                        regs[i].addr, regs[i].acronym, regs[i].name, val);
            drv8334_decode_status_reg(sh, regs[i].addr, val);
        }
    }
}

int drv8334_dump_status_regs(const struct drv8334_config *cfg, const struct shell *sh)
{
    static const struct reg_entry status_regs[] = {
        {DRV8334_REG_IC_STAT1, "IC_STAT1", "IC Status Register 1"},
        {DRV8334_REG_IC_STAT2, "IC_STAT2", "IC Status Register 2"},
        {DRV8334_REG_IC_STAT3, "IC_STAT3", "IC Status Register 3"},
        {DRV8334_REG_IC_STAT4, "IC_STAT4", "IC Status Register 4"},
        {DRV8334_REG_IC_STAT5, "IC_STAT5", "IC Status Register 5"},
        {DRV8334_REG_IC_STAT6, "IC_STAT6", "IC Status Register 6"},
    };

    dump_registers_internal(cfg, sh, status_regs, ARRAY_SIZE(status_regs), "STATUS REGISTERS");
    return 0;
}

int drv8334_dump_control_regs(const struct drv8334_config *cfg, const struct shell *sh)
{
    static const struct reg_entry control_regs[] = {
        {DRV8334_REG_IC_CTRL1, "IC_CTRL1", "IC Control Register 1"},
        {DRV8334_REG_IC_CTRL2, "IC_CTRL2", "IC Control Register 2"},
        {DRV8334_REG_IC_CTRL3, "IC_CTRL3", "IC Control Register 3"},
        {DRV8334_REG_GD_CTRL1, "GD_CTRL1", "Gate Drive Control 1"},
        {DRV8334_REG_GD_CTRL2, "GD_CTRL2", "Gate Drive Control 2"},
        {DRV8334_REG_GD_CTRL3, "GD_CTRL3", "Gate Drive Control 3"},
        {DRV8334_REG_GD_CTRL3B, "GD_CTRL3B", "Gate Drive Control 3B"},
        {DRV8334_REG_GD_CTRL4, "GD_CTRL4", "Gate Drive Control 4"},
        {DRV8334_REG_GD_CTRL5, "GD_CTRL5", "Gate Drive Control 5"},
        {DRV8334_REG_GD_CTRL6, "GD_CTRL6", "Gate Drive Control 6"},
        {DRV8334_REG_GD_CTRL7, "GD_CTRL7", "Gate Drive Control 7"},
        {DRV8334_REG_CSA_CTRL, "CSA_CTRL", "CSA Control Register"},
        {DRV8334_REG_MON_CTRL1, "MON_CTRL1", "Monitor Control Reg 1"},
        {DRV8334_REG_MON_CTRL2, "MON_CTRL2", "Monitor Control Reg 2"},
        {DRV8334_REG_MON_CTRL3, "MON_CTRL3", "Monitor Control Reg 3"},
        {DRV8334_REG_MON_CTRL4, "MON_CTRL4", "Monitor Control Reg 4"},
        {DRV8334_REG_MON_CTRL5, "MON_CTRL5", "Monitor Control Reg 5"},
        {DRV8334_REG_MON_CTRL6, "MON_CTRL6", "Monitor Control Reg 6"},
        {DRV8334_REG_DIAG_CTRL1, "DIAG_CTRL1", "Diagnostic Control 1"},
        {DRV8334_REG_SPI_TEST, "SPI_TEST", "SPI Test Register"},
        {DRV8334_REG_OTP_USR, "OTP_USR", "OTP User Control"},
    };

    dump_registers_internal(cfg, sh, control_regs, ARRAY_SIZE(control_regs), "CONTROL REGISTERS");
    return 0;
}

static int cmd_gdu_dump_status(const struct shell *sh, size_t argc, char **argv)
{
    return drv8334_dump_status_regs(&drv_cfg, sh);
}

static int cmd_gdu_dump_control(const struct shell *sh, size_t argc, char **argv)
{
    return drv8334_dump_control_regs(&drv_cfg, sh);
}

static int cmd_gdu_read(const struct shell *sh, size_t argc, char **argv)
{
    if (argc < 2) {
        shell_error(sh, "Usage: gdu read <addr_hex>");
        return -EINVAL;
    }

    char *endptr;
    uint8_t addr = (uint8_t)strtoul(argv[1], &endptr, 16);
    if (*endptr != '\0') {
        shell_error(sh, "Invalid hex address: %s", argv[1]);
        return -EINVAL;
    }

    uint16_t val = 0;
    int ret = drv8334_reg_read(&drv_cfg, addr, &val);
    if (ret < 0) {
        shell_error(sh, "Failed to read register [0x%02X], err: %d", addr, ret);
    } else {
        shell_print(sh, "Reg [0x%02X] = 0x%04X", addr, val);
    }

    return ret;
}

static int cmd_gdu_write(const struct shell *sh, size_t argc, char **argv)
{
    if (argc < 3) {
        shell_error(sh, "Usage: gdu write <addr_hex> <val_hex>");
        return -EINVAL;
    }

    char *endptr1, *endptr2;
    uint8_t addr = (uint8_t)strtoul(argv[1], &endptr1, 16);
    uint16_t val = (uint16_t)strtoul(argv[2], &endptr2, 16);

    if (*endptr1 != '\0' || *endptr2 != '\0') {
        shell_error(sh, "Invalid hex format in parameters");
        return -EINVAL;
    }

    int ret = drv8334_reg_write(&drv_cfg, addr, val);
    if (ret < 0) {
        shell_error(sh, "Failed to write register [0x%02X], err: %d", addr, ret);
    } else {
        shell_print(sh, "Wrote 0x%04X to Reg [0x%02X]", val, addr);
    }

    return ret;
}

static int cmd_gdu_drv(const struct shell *sh, size_t argc, char **argv)
{
    if (argc < 2) {
        shell_error(sh, "Usage: gdu drv <on|off>");
        return -EINVAL;
    }

    if (strcmp(argv[1], "on") == 0) {
        gpio_pin_set_dt(&drv_cfg.drvoff, 0);
        shell_print(sh, "DRV8334 Gate Driver ENABLED");
    } else if (strcmp(argv[1], "off") == 0) {
        gpio_pin_set_dt(&drv_cfg.drvoff, 1);
        shell_print(sh, "DRV8334 Gate Driver DISABLED");
    } else {
        shell_error(sh, "Invalid state: %s. Options: 'on', 'off'", argv[1]);
        return -EINVAL;
    }

    return 0;
}

SHELL_STATIC_SUBCMD_SET_CREATE(sub_gdu,
    SHELL_CMD_ARG(dump_status, NULL, "Dump DRV8334 status registers", cmd_gdu_dump_status, 1, 0),
    SHELL_CMD_ARG(dump_control, NULL, "Dump DRV8334 control registers", cmd_gdu_dump_control, 1, 0),
    SHELL_CMD_ARG(read, NULL, "Read DRV8334 register: gdu read <addr_hex>", cmd_gdu_read, 2, 0),
    SHELL_CMD_ARG(write, NULL, "Write DRV8334 register: gdu write <addr_hex> <val_hex>", cmd_gdu_write, 3, 0),
    SHELL_CMD_ARG(drv, NULL, "Control DRV8334 gate driver: gdu drv <on|off>", cmd_gdu_drv, 2, 0),
    SHELL_SUBCMD_SET_END
);

SHELL_CMD_REGISTER(gdu, &sub_gdu, "DRV8334 Driver Interface Commands", NULL);
```
